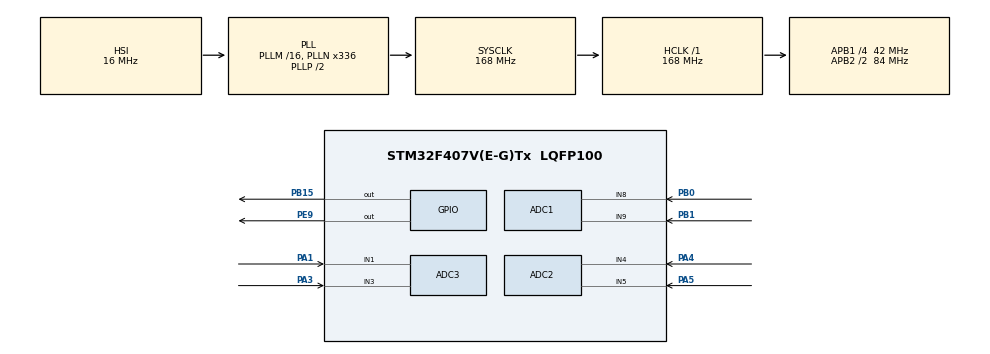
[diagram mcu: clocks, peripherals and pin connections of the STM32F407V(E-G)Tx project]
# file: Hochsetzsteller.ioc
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Mcu.Family=STM32F4
RCC.CortexFreq_Value=21000000
ADC2.SamplingTime-1\#ChannelRegularConversion=ADC_SAMPLETIME_3CYCLES
ADC1.ContinuousConvMode=ENABLE
ADC2.Channel-0\#ChannelRegularConversion=ADC_CHANNEL_5
Dma.ADC3.2.Instance=DMA2_Stream1
PB15.Signal=GPIO_Output
ADC3.Channel-0\#ChannelRegularConversion=ADC_CHANNEL_3
RCC.SYSCLKSource=RCC_SYSCLKSOURCE_PLLCLK
ProjectManager.StackSize=0x400
VP_TIM1_VS_no_output1.Mode=Output Compare1 No Output
TIM8.Pulse-Output\ Compare2\ No\ Output=2505
ADC2.DMAContinuousRequests=ENABLE
Dma.ADC3.2.Priority=DMA_PRIORITY_LOW
RCC.HCLKFreq_Value=168000000
SH.ADCx_IN3.0=ADC3_IN3,IN3
RCC.APB2TimFreq_Value=168000000
Dma.ADC1.0.Direction=DMA_PERIPH_TO_MEMORY
ADC1.InjNumberOfConversion=0
PB15.GPIO_ModeDefaultOutputPP=GPIO_MODE_OUTPUT_PP
NVIC.DMA2_Stream0_IRQn=true\:0\:0\:true\:false\:true\:false\:true
Dma.ADC1.0.MemDataAlignment=DMA_MDATAALIGN_WORD
RCC.AHBFreq_Value=168000000
VP_TIM8_VS_ControllerModeClock.Mode=Clock Mode
ADC3.SamplingTime-1\#ChannelRegularConversion=ADC_SAMPLETIME_3CYCLES
ADC1.Channel-0\#ChannelRegularConversion=ADC_CHANNEL_9
RCC.HSE_VALUE=25000000
VP_TIM4_VS_no_output1.Mode=Output Compare1 No Output
TIM8.Channel-Output\ Compare1\ No\ Output=TIM_CHANNEL_1
Dma.ADC2.1.Instance=DMA2_Stream3
PE9.Signal=GPIO_Output
PA14.Mode=Serial_Wire
Dma.ADC1.0.PeriphInc=DMA_PINC_DISABLE
ADC3.ContinuousConvMode=ENABLE
Dma.ADC3.2.Direction=DMA_PERIPH_TO_MEMORY
SH.ADCx_IN8.0=ADC1_IN8,IN8
Dma.ADC2.1.PeriphInc=DMA_PINC_DISABLE
TIM4.Period=9
VP_TIM1_VS_ClockSourceINT.Mode=Internal
ADC1.SamplingTime-0\#ChannelRegularConversion=ADC_SAMPLETIME_3CYCLES
Mcu.Package=LQFP100
PB1.Signal=ADCx_IN9
PB15.GPIO_PuPd=GPIO_NOPULL
ADC2.Channel-1\#ChannelRegularConversion=ADC_CHANNEL_4
ADC3.Rank-0\#ChannelRegularConversion=1
ADC2.SamplingTime-0\#ChannelRegularConversion=ADC_SAMPLETIME_3CYCLES
SH.ADCx_IN9.0=ADC1_IN9,IN9
ADC3.ClockPrescaler=ADC_CLOCK_SYNC_PCLK_DIV6
ADC3.DMAContinuousRequests=ENABLE
RCC.APB2CLKDivider=RCC_HCLK_DIV2
SH.ADCx_IN1.0=ADC3_IN1,IN1
ADC2.NbrOfConversion=2
Dma.Request2=ADC3
Dma.Request1=ADC2
RCC.APB1TimFreq_Value=84000000
Dma.ADC1.0.FIFOMode=DMA_FIFOMODE_DISABLE
TIM1.Period=5010
ADC2.Rank-0\#ChannelRegularConversion=1
TIM8.Channel-Output\ Compare2\ No\ Output=TIM_CHANNEL_2
Dma.Request0=ADC1
Dma.ADC2.1.PeriphDataAlignment=DMA_PDATAALIGN_WORD
TIM4.Channel-Output\ Compare1\ No\ Output=TIM_CHANNEL_1
PA3.Signal=ADCx_IN3
ADC2.ClockPrescaler=ADC_CLOCK_SYNC_PCLK_DIV6
Dma.ADC3.2.MemDataAlignment=DMA_MDATAALIGN_WORD
Dma.ADC1.0.Instance=DMA2_Stream0
ADC1.Rank-0\#ChannelRegularConversion=1
TIM1.Channel-Output\ Compare2\ No\ Output=TIM_CHANNEL_2
TIM1.Channel-Output\ Compare1\ No\ Output=TIM_CHANNEL_1
TIM1.OCMode_2=TIM_OCMODE_TIMING
VP_TIM8_VS_ClockSourceITR.Mode=TriggerSource_ITR0
NVIC.DMA2_Stream1_IRQn=true\:0\:0\:true\:false\:true\:false\:true
TIM8.TIM_MasterSlaveMode=TIM_MASTERSLAVEMODE_DISABLE
RCC.APB1CLKDivider=RCC_HCLK_DIV4
PA13.Signal=SYS_JTMS-SWDIO
Dma.ADC1.0.PeriphDataAlignment=DMA_PDATAALIGN_WORD
ADC3.SamplingTime-0\#ChannelRegularConversion=ADC_SAMPLETIME_3CYCLES
NVIC.TIM8_CC_IRQn=true\:0\:0\:true\:false\:true\:true\:true
ADC2.ContinuousConvMode=ENABLE
ProjectManager.TargetToolchain=STM32CubeIDE
Dma.ADC1.0.Mode=DMA_NORMAL
Dma.ADC1.0.Priority=DMA_PRIORITY_LOW
ADC1.Channel-1\#ChannelRegularConversion=ADC_CHANNEL_8
Dma.ADC3.2.PeriphDataAlignment=DMA_PDATAALIGN_WORD
ADC3.NbrOfConversion=2
NVIC.DMA2_Stream3_IRQn=true\:0\:0\:true\:false\:true\:false\:true
TIM4.Prescaler=4200
Dma.ADC2.1.Mode=DMA_NORMAL
RCC.LSE_VALUE=32768
PA1.Signal=ADCx_IN1
PA5.Signal=ADCx_IN5
Dma.ADC2.1.FIFOMode=DMA_FIFOMODE_DISABLE
TIM1.Channel-Output\ Compare3\ No\ Output=TIM_CHANNEL_3
Dma.ADC3.2.Mode=DMA_NORMAL
VP_TIM8_VS_no_output1.Mode=Output Compare1 No Output
board=custom
RCC.VCOOutputFreq_Value=336000000
VP_TIM1_VS_no_output4.Mode=Output Compare4 No Output
TIM1.TIM_MasterOutputTrigger=TIM_TRGO_UPDATE
RCC.APB2Freq_Value=84000000
VP_TIM1_VS_no_output3.Mode=Output Compare3 No Output
SH.ADCx_IN4.0=ADC2_IN4,IN4
Dma.ADC3.2.MemInc=DMA_MINC_ENABLE
ADC1.DMAContinuousRequests=ENABLE
Dma.ADC2.1.MemInc=DMA_MINC_ENABLE
VP_TIM1_VS_no_output2.Mode=Output Compare2 No Output
ADC1.NbrOfConversion=2
PA13.Mode=Serial_Wire
Mcu.Name=STM32F407V(E-G)Tx
ADC3.Channel-1\#ChannelRegularConversion=ADC_CHANNEL_1
NVIC.TIM1_CC_IRQn=true\:0\:0\:true\:false\:true\:true\:true
TIM8.Period=5010
RCC.48MHZClocksFreq_Value=84000000
ADC3.Rank-1\#ChannelRegularConversion=2
PA4.Signal=ADCx_IN4
ADC1.SamplingTime-1\#ChannelRegularConversion=ADC_SAMPLETIME_3CYCLES
RCC.SYSCLKFreq_VALUE=168000000
Dma.ADC2.1.Direction=DMA_PERIPH_TO_MEMORY
ADC1.master=1
ADC2.NbrOfConversionFlag=1
TIM8.TIM_MasterOutputTrigger=TIM_TRGO_UPDATE
Dma.ADC3.2.PeriphInc=DMA_PINC_DISABLE
ADC1.Rank-1\#ChannelRegularConversion=2
PA14.Signal=SYS_JTCK-SWCLK
Dma.ADC1.0.MemInc=DMA_MINC_ENABLE
ProjectManager.HeapSize=0x200
TIM1.Channel-Output\ Compare4\ No\ Output=TIM_CHANNEL_4
RCC.HSI_VALUE=16000000
VP_TIM8_VS_no_output2.Mode=Output Compare2 No Output
SH.ADCx_IN5.0=ADC2_IN5,IN5
VP_TIM4_VS_ClockSourceINT.Mode=Internal
NVIC.PriorityGroup=NVIC_PRIORITYGROUP_4
ADC1.NbrOfConversionFlag=1
Dma.ADC2.1.MemDataAlignment=DMA_MDATAALIGN_WORD
RCC.PLLN=336
ADC2.Rank-1\#ChannelRegularConversion=2
Dma.ADC2.1.Priority=DMA_PRIORITY_LOW
RCC.Cortex_Div=SYSTICK_CLKSOURCE_HCLK_DIV8
PE9.GPIO_ModeDefaultOutputPP=GPIO_MODE_OUTPUT_PP
NVIC.TIM4_IRQn=true\:1\:0\:true\:false\:true\:true\:true
RCC.APB1Freq_Value=42000000
ADC3.NbrOfConversionFlag=1
PB0.Signal=ADCx_IN8
ADC1.ClockPrescaler=ADC_CLOCK_SYNC_PCLK_DIV6
ADC2.InjNumberOfConversion=0
Dma.ADC3.2.FIFOMode=DMA_FIFOMODE_DISABLE
TIM1.TIM_MasterSlaveMode=TIM_MASTERSLAVEMODE_ENABLE

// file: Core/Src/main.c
/* USER CODE BEGIN Header */
/**
  ******************************************************************************
  * @file           : main.c
  * @brief          : Main program body
  ******************************************************************************
  * @attention
  *
  * <h2><center>&copy; Copyright (c) 2021 STMicroelectronics.
  * All rights reserved.</center></h2>
  *
  * This software component is licensed by ST under BSD 3-Clause license,
  * the "License"; You may not use this file except in compliance with the
  * License. You may obtain a copy of the License at:
  *                        opensource.org/licenses/BSD-3-Clause
  *
  ******************************************************************************
  */
/* USER CODE END Header */
#include "main.h"

ADC_HandleTypeDef hadc1;
ADC_HandleTypeDef hadc2;
ADC_HandleTypeDef hadc3;
DMA_HandleTypeDef hdma_adc1;
DMA_HandleTypeDef hdma_adc2;
DMA_HandleTypeDef hdma_adc3;

TIM_HandleTypeDef htim1;
TIM_HandleTypeDef htim4;
TIM_HandleTypeDef htim8;

/* USER CODE BEGIN PV */
/*ADC:
 * PA1: ADC3 IN1 -> LEM1 out
 * PA3: ADC3 IN3 -> LEM1 ref
 * PA4: ADC2 IN4 -> LEM2 out
 * PA5: ADC2 IN5 -> LEM2 ref
 * PB0: ADC1 IN8 -> U_in
 * PB1: ADC1 IN9 -> U_out
 */
uint32_t	value_adc1[2];	//
uint32_t	value_adc2[2];	//
uint32_t	value_adc3[2];	//

/*uint32_t	lem1[10];
uint32_t	lem2[10];
uint32_t	lem1_ref[10];
uint32_t	lem2_ref[10];
uint32_t	lem_count;*/
/* USER CODE END PV */

void SystemClock_Config(void);
static void MX_GPIO_Init(void);
static void MX_DMA_Init(void);
static void MX_ADC1_Init(void);
static void MX_ADC2_Init(void);
static void MX_ADC3_Init(void);
static void MX_TIM1_Init(void);
static void MX_TIM4_Init(void);
static void MX_TIM8_Init(void);

/* USER CODE BEGIN 0 */
#define buf_size 20
const double L=0.00034;
double a=0.5;
double a2=0.5;
double U_in_mid;
double U_in_buf[buf_size];
const double f=33000;
const double T=1/f;
double U_soll=100;
const uint16_t branches=8;
double U_in;
const uint16_t safety_dist=10;		//1 Zeitschritt bei 168MHz entspricht ~6ns

void init()
{
	/*for(int i=0;i<buf_size;i++)
	{
		U_in_mid+=value_adc1[1]*720/4095;
		HAL_Delay(100);
	}
	U_in_mid/=buf_size;*/
	//a=1-U_soll/U_in;	//Annahme nichtlückender Betrieb
	if(a<0)
		a=0;
	else if(a>0.95)
		a=0.95;
	TIM1->CCR1=0;	//evtl beim UG interrupt
	TIM1->CCR2=a*TIM1->ARR;
		//a im Timer einstellen
	HAL_TIM_OC_Start_IT(&htim1, TIM_CHANNEL_1);
	HAL_TIM_OC_Start_IT(&htim1, TIM_CHANNEL_2);
	HAL_TIM_OC_Start_IT(&htim8, TIM_CHANNEL_1);
	HAL_TIM_OC_Start_IT(&htim1, TIM_CHANNEL_4);
	HAL_TIM_OC_Start_IT(&htim4, TIM_CHANNEL_1);
}
/* USER CODE END 0 */

int main(void)
{

  /* MCU Configuration--------------------------------------------------------*/

  /* Reset of all peripherals, Initializes the Flash interface and the Systick. */
  HAL_Init();

  /* Configure the system clock */
  SystemClock_Config();

  /* Initialize all configured peripherals */
  MX_GPIO_Init();
  MX_DMA_Init();
  MX_ADC1_Init();
  MX_ADC2_Init();
  MX_ADC3_Init();
  MX_TIM1_Init();
  MX_TIM4_Init();
  MX_TIM8_Init();
  /* USER CODE BEGIN 2 */
  HAL_ADC_Start_DMA(&hadc1,value_adc1,2);
  HAL_ADC_Start_DMA(&hadc2,value_adc2,2);
  HAL_ADC_Start_DMA(&hadc3,value_adc3,2);
  init();

  /* USER CODE END 2 */

  /* Infinite loop */
  while (1)
  {

  }
}

void SystemClock_Config(void)
{
  RCC_OscInitTypeDef RCC_OscInitStruct = {0};
  RCC_ClkInitTypeDef RCC_ClkInitStruct = {0};

  /** Configure the main internal regulator output voltage
  */
  __HAL_RCC_PWR_CLK_ENABLE();
  __HAL_PWR_VOLTAGESCALING_CONFIG(PWR_REGULATOR_VOLTAGE_SCALE1);
  /** Initializes the RCC Oscillators according to the specified parameters
  * in the RCC_OscInitTypeDef structure.
  */
  RCC_OscInitStruct.OscillatorType = RCC_OSCILLATORTYPE_HSI;
  RCC_OscInitStruct.HSIState = RCC_HSI_ON;
  RCC_OscInitStruct.HSICalibrationValue = RCC_HSICALIBRATION_DEFAULT;
  RCC_OscInitStruct.PLL.PLLState = RCC_PLL_ON;
  RCC_OscInitStruct.PLL.PLLSource = RCC_PLLSOURCE_HSI;
  RCC_OscInitStruct.PLL.PLLM = 16;
  RCC_OscInitStruct.PLL.PLLN = 336;
  RCC_OscInitStruct.PLL.PLLP = RCC_PLLP_DIV2;
  RCC_OscInitStruct.PLL.PLLQ = 4;
  if (HAL_RCC_OscConfig(&RCC_OscInitStruct) != HAL_OK)
  {
    Error_Handler();
  }
  /** Initializes the CPU, AHB and APB buses clocks
  */
  RCC_ClkInitStruct.ClockType = RCC_CLOCKTYPE_HCLK|RCC_CLOCKTYPE_SYSCLK
                              |RCC_CLOCKTYPE_PCLK1|RCC_CLOCKTYPE_PCLK2;
  RCC_ClkInitStruct.SYSCLKSource = RCC_SYSCLKSOURCE_PLLCLK;
  RCC_ClkInitStruct.AHBCLKDivider = RCC_SYSCLK_DIV1;
  RCC_ClkInitStruct.APB1CLKDivider = RCC_HCLK_DIV4;
  RCC_ClkInitStruct.APB2CLKDivider = RCC_HCLK_DIV2;

  if (HAL_RCC_ClockConfig(&RCC_ClkInitStruct, FLASH_LATENCY_5) != HAL_OK)
  {
    Error_Handler();
  }
}

static void MX_ADC1_Init(void)
{

  ADC_ChannelConfTypeDef sConfig = {0};

  /** Configure the global features of the ADC (Clock, Resolution, Data Alignment and number of conversion)
  */
  hadc1.Instance = ADC1;
  hadc1.Init.ClockPrescaler = ADC_CLOCK_SYNC_PCLK_DIV6;
  hadc1.Init.Resolution = ADC_RESOLUTION_12B;
  hadc1.Init.ScanConvMode = ENABLE;
  hadc1.Init.ContinuousConvMode = ENABLE;
  hadc1.Init.DiscontinuousConvMode = DISABLE;
  hadc1.Init.ExternalTrigConvEdge = ADC_EXTERNALTRIGCONVEDGE_NONE;
  hadc1.Init.ExternalTrigConv = ADC_SOFTWARE_START;
  hadc1.Init.DataAlign = ADC_DATAALIGN_RIGHT;
  hadc1.Init.NbrOfConversion = 2;
  hadc1.Init.DMAContinuousRequests = ENABLE;
  hadc1.Init.EOCSelection = ADC_EOC_SINGLE_CONV;
  if (HAL_ADC_Init(&hadc1) != HAL_OK)
  {
    Error_Handler();
  }
  /** Configure for the selected ADC regular channel its corresponding rank in the sequencer and its sample time.
  */
  sConfig.Channel = ADC_CHANNEL_9;
  sConfig.Rank = 1;
  sConfig.SamplingTime = ADC_SAMPLETIME_3CYCLES;
  if (HAL_ADC_ConfigChannel(&hadc1, &sConfig) != HAL_OK)
  {
    Error_Handler();
  }
  /** Configure for the selected ADC regular channel its corresponding rank in the sequencer and its sample time.
  */
  sConfig.Channel = ADC_CHANNEL_8;
  sConfig.Rank = 2;
  if (HAL_ADC_ConfigChannel(&hadc1, &sConfig) != HAL_OK)
  {
    Error_Handler();
  }

}

static void MX_ADC2_Init(void)
{

  ADC_ChannelConfTypeDef sConfig = {0};

  /** Configure the global features of the ADC (Clock, Resolution, Data Alignment and number of conversion)
  */
  hadc2.Instance = ADC2;
  hadc2.Init.ClockPrescaler = ADC_CLOCK_SYNC_PCLK_DIV6;
  hadc2.Init.Resolution = ADC_RESOLUTION_12B;
  hadc2.Init.ScanConvMode = ENABLE;
  hadc2.Init.ContinuousConvMode = ENABLE;
  hadc2.Init.DiscontinuousConvMode = DISABLE;
  hadc2.Init.ExternalTrigConvEdge = ADC_EXTERNALTRIGCONVEDGE_NONE;
  hadc2.Init.ExternalTrigConv = ADC_SOFTWARE_START;
  hadc2.Init.DataAlign = ADC_DATAALIGN_RIGHT;
  hadc2.Init.NbrOfConversion = 2;
  hadc2.Init.DMAContinuousRequests = ENABLE;
  hadc2.Init.EOCSelection = ADC_EOC_SINGLE_CONV;
  if (HAL_ADC_Init(&hadc2) != HAL_OK)
  {
    Error_Handler();
  }
  /** Configure for the selected ADC regular channel its corresponding rank in the sequencer and its sample time.
  */
  sConfig.Channel = ADC_CHANNEL_5;
  sConfig.Rank = 1;
  sConfig.SamplingTime = ADC_SAMPLETIME_3CYCLES;
  if (HAL_ADC_ConfigChannel(&hadc2, &sConfig) != HAL_OK)
  {
    Error_Handler();
  }
  /** Configure for the selected ADC regular channel its corresponding rank in the sequencer and its sample time.
  */
  sConfig.Channel = ADC_CHANNEL_4;
  sConfig.Rank = 2;
  if (HAL_ADC_ConfigChannel(&hadc2, &sConfig) != HAL_OK)
  {
    Error_Handler();
  }

}

static void MX_ADC3_Init(void)
{

  ADC_ChannelConfTypeDef sConfig = {0};

  /** Configure the global features of the ADC (Clock, Resolution, Data Alignment and number of conversion)
  */
  hadc3.Instance = ADC3;
  hadc3.Init.ClockPrescaler = ADC_CLOCK_SYNC_PCLK_DIV6;
  hadc3.Init.Resolution = ADC_RESOLUTION_12B;
  hadc3.Init.ScanConvMode = ENABLE;
  hadc3.Init.ContinuousConvMode = ENABLE;
  hadc3.Init.DiscontinuousConvMode = DISABLE;
  hadc3.Init.ExternalTrigConvEdge = ADC_EXTERNALTRIGCONVEDGE_NONE;
  hadc3.Init.ExternalTrigConv = ADC_SOFTWARE_START;
  hadc3.Init.DataAlign = ADC_DATAALIGN_RIGHT;
  hadc3.Init.NbrOfConversion = 2;
  hadc3.Init.DMAContinuousRequests = ENABLE;
  hadc3.Init.EOCSelection = ADC_EOC_SINGLE_CONV;
  if (HAL_ADC_Init(&hadc3) != HAL_OK)
  {
    Error_Handler();
  }
  /** Configure for the selected ADC regular channel its corresponding rank in the sequencer and its sample time.
  */
  sConfig.Channel = ADC_CHANNEL_3;
  sConfig.Rank = 1;
  sConfig.SamplingTime = ADC_SAMPLETIME_3CYCLES;
  if (HAL_ADC_ConfigChannel(&hadc3, &sConfig) != HAL_OK)
  {
    Error_Handler();
  }
  /** Configure for the selected ADC regular channel its corresponding rank in the sequencer and its sample time.
  */
  sConfig.Channel = ADC_CHANNEL_1;
  sConfig.Rank = 2;
  if (HAL_ADC_ConfigChannel(&hadc3, &sConfig) != HAL_OK)
  {
    Error_Handler();
  }

}

static void MX_TIM1_Init(void)
{

  /* USER CODE BEGIN TIM1_Init 0 */
	//Grundfrequenz 168MHz
	//period=168MHz/33kHz=5010
  /* USER CODE END TIM1_Init 0 */

  TIM_ClockConfigTypeDef sClockSourceConfig = {0};
  TIM_MasterConfigTypeDef sMasterConfig = {0};
  TIM_OC_InitTypeDef sConfigOC = {0};
  TIM_BreakDeadTimeConfigTypeDef sBreakDeadTimeConfig = {0};

  htim1.Instance = TIM1;
  htim1.Init.Prescaler = 0;
  htim1.Init.CounterMode = TIM_COUNTERMODE_UP;
  htim1.Init.Period = 5010;
  htim1.Init.ClockDivision = TIM_CLOCKDIVISION_DIV1;
  htim1.Init.RepetitionCounter = 0;
  htim1.Init.AutoReloadPreload = TIM_AUTORELOAD_PRELOAD_DISABLE;
  if (HAL_TIM_Base_Init(&htim1) != HAL_OK)
  {
    Error_Handler();
  }
  sClockSourceConfig.ClockSource = TIM_CLOCKSOURCE_INTERNAL;
  if (HAL_TIM_ConfigClockSource(&htim1, &sClockSourceConfig) != HAL_OK)
  {
    Error_Handler();
  }
  if (HAL_TIM_OC_Init(&htim1) != HAL_OK)
  {
    Error_Handler();
  }
  sMasterConfig.MasterOutputTrigger = TIM_TRGO_UPDATE;
  sMasterConfig.MasterSlaveMode = TIM_MASTERSLAVEMODE_ENABLE;
  if (HAL_TIMEx_MasterConfigSynchronization(&htim1, &sMasterConfig) != HAL_OK)
  {
    Error_Handler();
  }
  sConfigOC.OCMode = TIM_OCMODE_TIMING;
  sConfigOC.Pulse = 0;
  sConfigOC.OCPolarity = TIM_OCPOLARITY_HIGH;
  sConfigOC.OCNPolarity = TIM_OCNPOLARITY_HIGH;
  sConfigOC.OCFastMode = TIM_OCFAST_DISABLE;
  sConfigOC.OCIdleState = TIM_OCIDLESTATE_RESET;
  sConfigOC.OCNIdleState = TIM_OCNIDLESTATE_RESET;
  if (HAL_TIM_OC_ConfigChannel(&htim1, &sConfigOC, TIM_CHANNEL_1) != HAL_OK)
  {
    Error_Handler();
  }
  if (HAL_TIM_OC_ConfigChannel(&htim1, &sConfigOC, TIM_CHANNEL_2) != HAL_OK)
  {
    Error_Handler();
  }
  if (HAL_TIM_OC_ConfigChannel(&htim1, &sConfigOC, TIM_CHANNEL_3) != HAL_OK)
  {
    Error_Handler();
  }
  if (HAL_TIM_OC_ConfigChannel(&htim1, &sConfigOC, TIM_CHANNEL_4) != HAL_OK)
  {
    Error_Handler();
  }
  sBreakDeadTimeConfig.OffStateRunMode = TIM_OSSR_DISABLE;
  sBreakDeadTimeConfig.OffStateIDLEMode = TIM_OSSI_DISABLE;
  sBreakDeadTimeConfig.LockLevel = TIM_LOCKLEVEL_OFF;
  sBreakDeadTimeConfig.DeadTime = 0;
  sBreakDeadTimeConfig.BreakState = TIM_BREAK_DISABLE;
  sBreakDeadTimeConfig.BreakPolarity = TIM_BREAKPOLARITY_HIGH;
  sBreakDeadTimeConfig.AutomaticOutput = TIM_AUTOMATICOUTPUT_DISABLE;
  if (HAL_TIMEx_ConfigBreakDeadTime(&htim1, &sBreakDeadTimeConfig) != HAL_OK)
  {
    Error_Handler();
  }

}

static void MX_TIM4_Init(void)
{

  TIM_ClockConfigTypeDef sClockSourceConfig = {0};
  TIM_MasterConfigTypeDef sMasterConfig = {0};
  TIM_OC_InitTypeDef sConfigOC = {0};

  htim4.Instance = TIM4;
  htim4.Init.Prescaler = 4200;
  htim4.Init.CounterMode = TIM_COUNTERMODE_UP;
  htim4.Init.Period = 9;
  htim4.Init.ClockDivision = TIM_CLOCKDIVISION_DIV1;
  htim4.Init.AutoReloadPreload = TIM_AUTORELOAD_PRELOAD_DISABLE;
  if (HAL_TIM_Base_Init(&htim4) != HAL_OK)
  {
    Error_Handler();
  }
  sClockSourceConfig.ClockSource = TIM_CLOCKSOURCE_INTERNAL;
  if (HAL_TIM_ConfigClockSource(&htim4, &sClockSourceConfig) != HAL_OK)
  {
    Error_Handler();
  }
  if (HAL_TIM_OC_Init(&htim4) != HAL_OK)
  {
    Error_Handler();
  }
  sMasterConfig.MasterOutputTrigger = TIM_TRGO_RESET;
  sMasterConfig.MasterSlaveMode = TIM_MASTERSLAVEMODE_DISABLE;
  if (HAL_TIMEx_MasterConfigSynchronization(&htim4, &sMasterConfig) != HAL_OK)
  {
    Error_Handler();
  }
  sConfigOC.OCMode = TIM_OCMODE_TIMING;
  sConfigOC.Pulse = 0;
  sConfigOC.OCPolarity = TIM_OCPOLARITY_HIGH;
  sConfigOC.OCFastMode = TIM_OCFAST_DISABLE;
  if (HAL_TIM_OC_ConfigChannel(&htim4, &sConfigOC, TIM_CHANNEL_1) != HAL_OK)
  {
    Error_Handler();
  }

}

static void MX_TIM8_Init(void)
{

  TIM_SlaveConfigTypeDef sSlaveConfig = {0};
  TIM_MasterConfigTypeDef sMasterConfig = {0};
  TIM_OC_InitTypeDef sConfigOC = {0};
  TIM_BreakDeadTimeConfigTypeDef sBreakDeadTimeConfig = {0};

  htim8.Instance = TIM8;
  htim8.Init.Prescaler = 168;
  htim8.Init.CounterMode = TIM_COUNTERMODE_UP;
  htim8.Init.Period = 2000;
  htim8.Init.ClockDivision = TIM_CLOCKDIVISION_DIV1;
  htim8.Init.RepetitionCounter = 0;
  htim8.Init.AutoReloadPreload = TIM_AUTORELOAD_PRELOAD_DISABLE;
  if (HAL_TIM_Base_Init(&htim8) != HAL_OK)
  {
    Error_Handler();
  }
  if (HAL_TIM_OC_Init(&htim8) != HAL_OK)
  {
    Error_Handler();
  }
  sSlaveConfig.SlaveMode = TIM_SLAVEMODE_EXTERNAL1;
  sSlaveConfig.InputTrigger = TIM_TS_ITR0;
  if (HAL_TIM_SlaveConfigSynchro(&htim8, &sSlaveConfig) != HAL_OK)
  {
    Error_Handler();
  }
  sMasterConfig.MasterOutputTrigger = TIM_TRGO_UPDATE;
  sMasterConfig.MasterSlaveMode = TIM_MASTERSLAVEMODE_DISABLE;
  if (HAL_TIMEx_MasterConfigSynchronization(&htim8, &sMasterConfig) != HAL_OK)
  {
    Error_Handler();
  }
  sConfigOC.OCMode = TIM_OCMODE_TIMING;
  sConfigOC.Pulse = 0;
  sConfigOC.OCPolarity = TIM_OCPOLARITY_HIGH;
  sConfigOC.OCNPolarity = TIM_OCNPOLARITY_HIGH;
  sConfigOC.OCFastMode = TIM_OCFAST_DISABLE;
  sConfigOC.OCIdleState = TIM_OCIDLESTATE_RESET;
  sConfigOC.OCNIdleState = TIM_OCNIDLESTATE_RESET;
  if (HAL_TIM_OC_ConfigChannel(&htim8, &sConfigOC, TIM_CHANNEL_1) != HAL_OK)
  {
    Error_Handler();
  }
  sConfigOC.Pulse = 2505;
  if (HAL_TIM_OC_ConfigChannel(&htim8, &sConfigOC, TIM_CHANNEL_2) != HAL_OK)
  {
    Error_Handler();
  }
  sBreakDeadTimeConfig.OffStateRunMode = TIM_OSSR_DISABLE;
  sBreakDeadTimeConfig.OffStateIDLEMode = TIM_OSSI_DISABLE;
  sBreakDeadTimeConfig.LockLevel = TIM_LOCKLEVEL_OFF;
  sBreakDeadTimeConfig.DeadTime = 0;
  sBreakDeadTimeConfig.BreakState = TIM_BREAK_DISABLE;
  sBreakDeadTimeConfig.BreakPolarity = TIM_BREAKPOLARITY_HIGH;
  sBreakDeadTimeConfig.AutomaticOutput = TIM_AUTOMATICOUTPUT_DISABLE;
  if (HAL_TIMEx_ConfigBreakDeadTime(&htim8, &sBreakDeadTimeConfig) != HAL_OK)
  {
    Error_Handler();
  }

}

static void MX_DMA_Init(void)
{

  /* DMA controller clock enable */
  __HAL_RCC_DMA2_CLK_ENABLE();

  /* DMA interrupt init */
  /* DMA2_Stream0_IRQn interrupt configuration */
  HAL_NVIC_SetPriority(DMA2_Stream0_IRQn, 0, 0);
  HAL_NVIC_EnableIRQ(DMA2_Stream0_IRQn);
  /* DMA2_Stream1_IRQn interrupt configuration */
  HAL_NVIC_SetPriority(DMA2_Stream1_IRQn, 0, 0);
  HAL_NVIC_EnableIRQ(DMA2_Stream1_IRQn);
  /* DMA2_Stream3_IRQn interrupt configuration */
  HAL_NVIC_SetPriority(DMA2_Stream3_IRQn, 0, 0);
  HAL_NVIC_EnableIRQ(DMA2_Stream3_IRQn);

}

static void MX_GPIO_Init(void)
{
  GPIO_InitTypeDef GPIO_InitStruct = {0};

  /* GPIO Ports Clock Enable */
  __HAL_RCC_GPIOA_CLK_ENABLE();
  __HAL_RCC_GPIOB_CLK_ENABLE();
  __HAL_RCC_GPIOE_CLK_ENABLE();

  /*Configure GPIO pin Output Level */
  HAL_GPIO_WritePin(GPIOE, GPIO_PIN_9, GPIO_PIN_RESET);

  /*Configure GPIO pin Output Level */
  HAL_GPIO_WritePin(GPIOB, GPIO_PIN_15, GPIO_PIN_RESET);

  /*Configure GPIO pin : PE9 */
  GPIO_InitStruct.Pin = GPIO_PIN_9;
  GPIO_InitStruct.Mode = GPIO_MODE_OUTPUT_PP;
  GPIO_InitStruct.Pull = GPIO_NOPULL;
  GPIO_InitStruct.Speed = GPIO_SPEED_FREQ_LOW;
  HAL_GPIO_Init(GPIOE, &GPIO_InitStruct);

  /*Configure GPIO pin : PB15 */
  GPIO_InitStruct.Pin = GPIO_PIN_15;
  GPIO_InitStruct.Mode = GPIO_MODE_OUTPUT_PP;
  GPIO_InitStruct.Pull = GPIO_NOPULL;
  GPIO_InitStruct.Speed = GPIO_SPEED_FREQ_LOW;
  HAL_GPIO_Init(GPIOB, &GPIO_InitStruct);

}

void Error_Handler(void)
{
}

/************************ (C) COPYRIGHT STMicroelectronics *****END OF FILE****/
